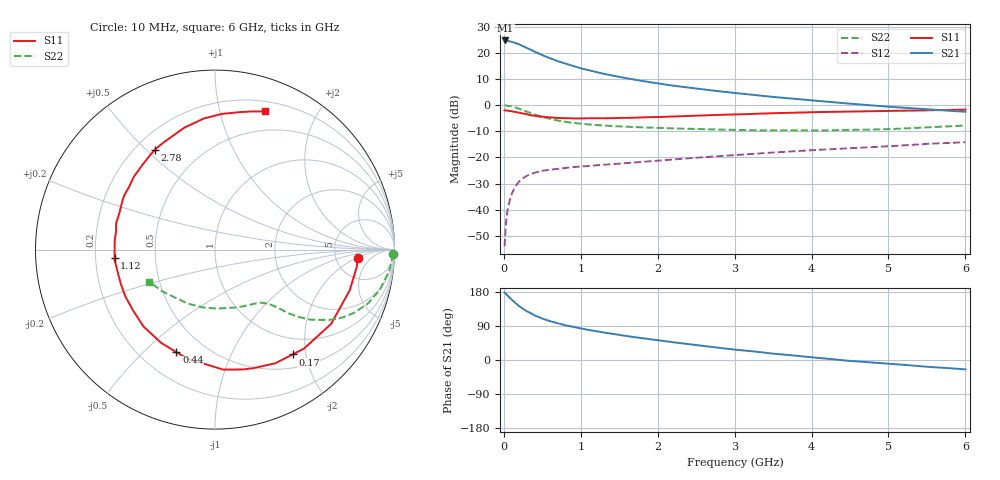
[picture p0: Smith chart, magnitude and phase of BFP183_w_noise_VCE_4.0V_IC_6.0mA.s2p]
! Infineon Technologies  Discrete & RF Semiconductors
! BFP183
! VCE = 4.0 V,  IC =  6.0 mA
! Common Emitter S-Parameters:  Jan 2016
# GHz  S  MA  R  50
!  f  S11  S21  S12  S22
! GHz  MAG  ANG  MAG  ANG  MAG  ANG  MAG  ANG
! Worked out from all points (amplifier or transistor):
!   210 points, 10 MHz to 6 GHz, reference 50 ohm
!   highest |S21| = 24.7 dB at 20 MHz (marker M1)
!   |S21| within 3 dB of that: start of sweep to 310.5 MHz
!   unconditionally stable (mu >= 1): 1.483 GHz to 5.677 GHz
!   at 185 MHz: K = 0.18, MSG = 26.6 dB, |S12| = -29.7 dB
!   at 1.52 GHz: K = 1.01, MAG = 15.8 dB, |S12| = -22.3 dB
!   at 6 GHz: K = 0.94, MSG = 5.8 dB, |S12| = -14.2 dB
!   lowest NFmin = 1.20 dB at 450 MHz
!   S11 on the Smith chart (normalised r, x): 10 MHz: 8.31, -2.02; 170 MHz: 0.71, -1.76; 440 MHz: 0.35, -0.63; 1.12 GHz: 0.28, -0.04; 2.78 GHz: 0.28, +0.53; 6 GHz: 0.30, +1.38
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0.01  0.7961 -3.2  17.11 178.0  0.002 79.5  0.9922 -1.4
0.02  0.796 -6.8  17.26 176.1  0.0038 81.2  0.988 -2.9
0.05  0.7843 -16.7  16.98 169.5  0.0101 82.3  0.9779 -7.0
0.1  0.7682 -32.6  16.27 159.7  0.0195 72.7  0.9461 -13.6
0.15  0.7416 -48.1  15.5 150.3  0.0278 67.0  0.9021 -19.6
0.17  0.7267 -53.5  15.06 147.1  0.0305 64.0  0.8806 -21.5
0.2  0.7171 -62.0  14.5 141.9  0.0347 60.4  0.8503 -24.5
0.3  0.6702 -86.1  12.44 128.5  0.0445 51.2  0.7456 -31.7
0.4  0.6265 -104.6  10.55 117.6  0.0509 45.0  0.6614 -36.2
0.44  0.6105 -110.6  9.905 114.6  0.0527 43.0  0.6347 -37.2
0.5  0.6 -120.1  9.002 109.2  0.0555 40.2  0.5952 -39.0
0.6  0.5852 -132.9  7.918 102.4  0.0579 37.6  0.5455 -40.8
0.7  0.5688 -143.2  6.923 96.8  0.0604 35.9  0.5065 -41.9
1.02  0.557 -168.9  4.981 82.5  0.0669 33.6  0.4379 -44.6
1.12  0.5616 -175.3  4.58 78.7  0.0689 33.5  0.4243 -45.4
1.5  0.5699 165.4  3.468 66.1  0.0759 34.0  0.3909 -49.1
2.02  0.5922 144.2  2.569 51.6  0.0874 34.4  0.367 -56.4
2.78  0.6494 121.0  1.853 32.5  0.105 33.9  0.3416 -70.9
3.1  0.6687 112.9  1.65 25.6  0.1132 33.4  0.332 -78.2
4.1  0.7364 93.4  1.199 5.3  0.1397 29.2  0.3288 -104.6
5.1  0.779 79.6  0.911 -11.3  0.1664 24.8  0.3516 -132.0
6  0.8187 70.2  0.746 -24.7  0.1951 17.5  0.4074 -154.1
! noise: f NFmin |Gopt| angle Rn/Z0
0.45  1.2  0.21  41  0.24
0.9  1.25  0.24  101  0.21
1.8  2  0.32  175  0.14
